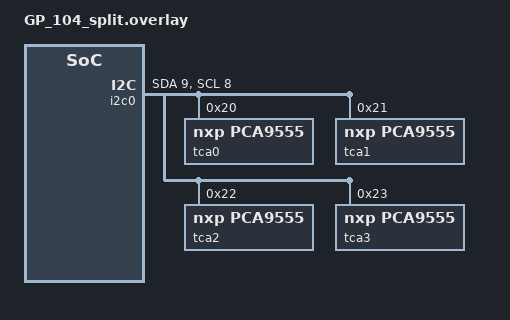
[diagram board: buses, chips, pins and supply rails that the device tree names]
&i2c0 {
    compatible = "nordic,nrf-twim";
    status = "okay";

    sda-pin = <9>;
    scl-pin = <8>;

    tca0: gpio@20 {
        compatible = "nxp,pca9555";
        reg = <0x20>;
        gpio-controller;
        #gpio-cells = <2>;
    };

    tca1: gpio@21 {
        compatible = "nxp,pca9555";
        reg = <0x21>;
        gpio-controller;
        #gpio-cells = <2>;
    };

    tca2: gpio@22 {
        compatible = "nxp,pca9555";
        reg = <0x22>;
        gpio-controller;
        #gpio-cells = <2>;
    };

    tca3: gpio@23 {
        compatible = "nxp,pca9555";
        reg = <0x23>;
        gpio-controller;
        #gpio-cells = <2>;
    };
};
